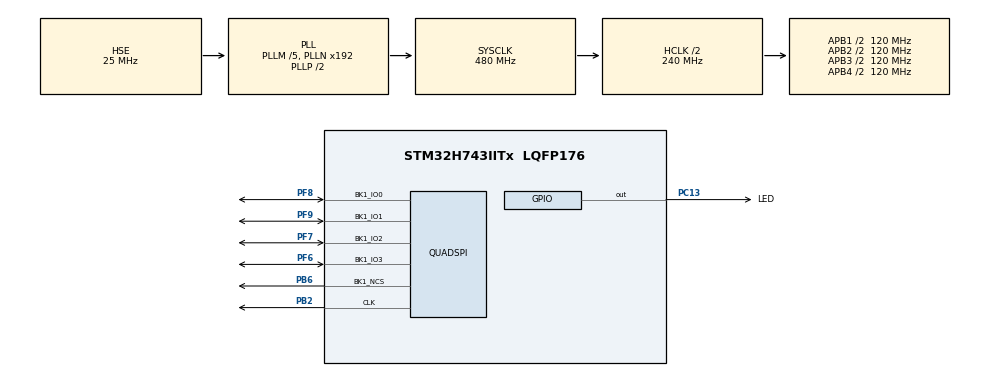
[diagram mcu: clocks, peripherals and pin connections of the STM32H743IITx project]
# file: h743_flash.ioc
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Mcu.Family=STM32H7
Mcu.Name=STM32H743IITx
Mcu.Package=LQFP176
NVIC.PriorityGroup=NVIC_PRIORITYGROUP_4
PB2.Mode=Single Bank 1
PB2.Signal=QUADSPI_CLK
PB6.Mode=Single Bank 1
PB6.Signal=QUADSPI_BK1_NCS
PC13.GPIO_Label=LED
PC13.Signal=GPIO_Output
PF6.Mode=Single Bank 1
PF6.Signal=QUADSPI_BK1_IO3
PF7.Mode=Single Bank 1
PF7.Signal=QUADSPI_BK1_IO2
PF8.Mode=Single Bank 1
PF8.Signal=QUADSPI_BK1_IO0
PF9.Mode=Single Bank 1
PF9.Signal=QUADSPI_BK1_IO1
PH0-OSC_IN\ (PH0).Mode=HSE-External-Oscillator
PH0-OSC_IN\ (PH0).Signal=RCC_OSC_IN
PH1-OSC_OUT\ (PH1).Mode=HSE-External-Oscillator
PH1-OSC_OUT\ (PH1).Signal=RCC_OSC_OUT
ProjectManager.HeapSize=0x200
ProjectManager.StackSize=0x400
ProjectManager.TargetToolchain=STM32CubeIDE
QUADSPI.ChipSelectHighTime=QSPI_CS_HIGH_TIME_2_CYCLE
QUADSPI.ClockPrescaler=1
QUADSPI.FifoThreshold=32
QUADSPI.FlashSize=23
QUADSPI.SampleShifting=QSPI_SAMPLE_SHIFTING_HALFCYCLE
RCC.ADCFreq_Value=200000000
RCC.APB1Freq_Value=120000000
RCC.APB2Freq_Value=120000000
RCC.APB3Freq_Value=120000000
RCC.APB4Freq_Value=120000000
RCC.CortexFreq_Value=480000000
RCC.D1PPRE=RCC_APB3_DIV2
RCC.D2PPRE1=RCC_APB1_DIV2
RCC.D2PPRE2=RCC_APB2_DIV2
RCC.D3PPRE=RCC_APB4_DIV2
RCC.DIVM1=5
RCC.DIVM2=5
RCC.DIVN1=192
RCC.DIVN2=80
RCC.DIVR2=8
RCC.HCLKFreq_Value=240000000
RCC.HPRE=RCC_HCLK_DIV2
RCC.PLLSourceVirtual=RCC_PLLSOURCE_HSE
RCC.QSPICLockSelection=RCC_QSPICLKSOURCE_PLL2
RCC.SYSCLKFreq_VALUE=480000000
RCC.SYSCLKSource=RCC_SYSCLKSOURCE_PLLCLK
RCC.USBFreq_Value=480000000
VP_MEMORYMAP_VS_MEMORYMAP.Mode=CurAppReg
board=custom

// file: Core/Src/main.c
/* USER CODE BEGIN Header */
/**
  ******************************************************************************
  * @file           : main.c
  * @brief          : Main program body
  ******************************************************************************
  * @attention
  *
  * Copyright (c) 2026 STMicroelectronics.
  * All rights reserved.
  *
  * This software is licensed under terms that can be found in the LICENSE file
  * in the root directory of this software component.
  * If no LICENSE file comes with this software, it is provided AS-IS.
  *
  ******************************************************************************
  */
/* USER CODE END Header */
#include "main.h"
#include "quadspi.h"
#include "gpio.h"

/* USER CODE BEGIN PV */
#define WRITE_ENABLE_CMD   0x06U
#define READ_STATUS_REG1_CMD   0x05U
#define READ_STATUS_REG2_CMD   0x35U
#define READ_STATUS_REG3_CMD   0x15U
#define WRITE_STATUS_REG2_CMD 	0x31U
#define QSPI_TIMEOUT_DEFAULT_VALUE 1000U
#define QUAD_OUT_FAST_READ_CMD       0x6BU
#define DUMMY_CLOCK_CYCLES_READ_QUAD 8U
#define QUAD_IN_FAST_PROG_CMD 0x32U
#define MEMORY_PAGE_SIZE 		256U
#define SECTOR_ERASE_CMD        0x20U
#define CHIP_ERASE_CMD          0xC7U
#define MEMORY_SECTOR_SIZE      0x1000U   /* 4KB */
#define QUADSPI_MAX_ERASE_TIMEOUT 300000U
/* USER CODE END PV */

void SystemClock_Config(void);

/* USER CODE BEGIN 0 */
uint32_t QSPI_ReadJedecID(void);
static uint8_t QSPI_ResetChip(void)
{
    QSPI_CommandTypeDef sCommand = {0};

    sCommand.InstructionMode = QSPI_INSTRUCTION_1_LINE;
    sCommand.AddressMode = QSPI_ADDRESS_NONE;
    sCommand.AddressSize = QSPI_ADDRESS_24_BITS;
    sCommand.AlternateByteMode = QSPI_ALTERNATE_BYTES_NONE;
    sCommand.DataMode = QSPI_DATA_NONE;
    sCommand.NbData = 0U;
    sCommand.DummyCycles = 0U;
    sCommand.DdrMode = QSPI_DDR_MODE_DISABLE;
    sCommand.DdrHoldHalfCycle = QSPI_DDR_HHC_ANALOG_DELAY;
    sCommand.SIOOMode = QSPI_SIOO_INST_EVERY_CMD;
    sCommand.Instruction = 0x66; // Reset Enable
    if (HAL_QSPI_Command(&hqspi, &sCommand, 1000) != HAL_OK)
    {
    	return HAL_ERROR;
    }

    sCommand.Instruction = 0x99; // Reset
    if (HAL_QSPI_Command(&hqspi, &sCommand, 1000) != HAL_OK)
    {
    	return HAL_ERROR;
    }

    HAL_Delay(1);

    return HAL_OK;
}

static uint8_t QSPI_WriteEnable(void)
{
    QSPI_CommandTypeDef sCommand = {0};
    QSPI_AutoPollingTypeDef sConfig = {0};

    if (HAL_QSPI_Abort(&hqspi) != HAL_OK)
    {
        return HAL_ERROR;
    }

    /* Send Write Enable command (0x06) */
    sCommand.InstructionMode   = QSPI_INSTRUCTION_1_LINE;
    sCommand.Instruction       = WRITE_ENABLE_CMD;
    sCommand.AddressMode       = QSPI_ADDRESS_NONE;
    sCommand.AddressSize       = QSPI_ADDRESS_24_BITS;
    sCommand.Address           = 0U;
    sCommand.AlternateByteMode = QSPI_ALTERNATE_BYTES_NONE;
    sCommand.DataMode          = QSPI_DATA_NONE;
    sCommand.DummyCycles       = 0U;
    sCommand.DdrMode           = QSPI_DDR_MODE_DISABLE;
    sCommand.DdrHoldHalfCycle  = QSPI_DDR_HHC_ANALOG_DELAY;
    sCommand.SIOOMode          = QSPI_SIOO_INST_EVERY_CMD;

    if (HAL_QSPI_Command(&hqspi, &sCommand, QSPI_TIMEOUT_DEFAULT_VALUE) != HAL_OK)
    {
        return HAL_ERROR;
    }

    /* Wait until WEL bit is set (SR1 bit1) */
    sCommand.Instruction = READ_STATUS_REG1_CMD;  /* 0x05 */
    sCommand.DataMode    = QSPI_DATA_1_LINE;
    sCommand.NbData      = 1U;

    sConfig.Match           = 0x02U;   /* WEL = 1 */
    sConfig.Mask            = 0x02U;
    sConfig.MatchMode       = QSPI_MATCH_MODE_AND;
    sConfig.StatusBytesSize = 1U;
    sConfig.Interval        = 0x10;
    sConfig.AutomaticStop   = QSPI_AUTOMATIC_STOP_ENABLE;

    if (HAL_QSPI_AutoPolling(&hqspi, &sCommand, &sConfig, QSPI_TIMEOUT_DEFAULT_VALUE) != HAL_OK)
    {
        return HAL_ERROR;
    }

    return HAL_OK;
}

static uint8_t QSPI_ReadStatusReg1(uint8_t *value)
{
    QSPI_CommandTypeDef sCommand = {0};

    if (value == NULL)
    {
        return HAL_ERROR;
    }

    if (HAL_QSPI_Abort(&hqspi) != HAL_OK)
    {
        return HAL_ERROR;
    }

    sCommand.InstructionMode   = QSPI_INSTRUCTION_1_LINE;
    sCommand.Instruction       = READ_STATUS_REG1_CMD;   /* 0x05 */
    sCommand.AddressMode       = QSPI_ADDRESS_NONE;
    sCommand.AddressSize       = QSPI_ADDRESS_24_BITS;
    sCommand.Address           = 0U;
    sCommand.AlternateByteMode = QSPI_ALTERNATE_BYTES_NONE;
    sCommand.DataMode          = QSPI_DATA_1_LINE;
    sCommand.NbData            = 1U;
    sCommand.DummyCycles       = 0U;
    sCommand.DdrMode           = QSPI_DDR_MODE_DISABLE;
    sCommand.DdrHoldHalfCycle  = QSPI_DDR_HHC_ANALOG_DELAY;
    sCommand.SIOOMode          = QSPI_SIOO_INST_EVERY_CMD;

    if (HAL_QSPI_Command(&hqspi, &sCommand, QSPI_TIMEOUT_DEFAULT_VALUE) != HAL_OK)
    {
        return HAL_ERROR;
    }

    if (HAL_QSPI_Receive(&hqspi, value, QSPI_TIMEOUT_DEFAULT_VALUE) != HAL_OK)
    {
        return HAL_ERROR;
    }

    return HAL_OK;
}

static uint8_t QSPI_ReadStatusReg2(uint8_t *value)
{
    QSPI_CommandTypeDef sCommand = {0};

    if (value == NULL)
    {
        return HAL_ERROR;
    }

    if (HAL_QSPI_Abort(&hqspi) != HAL_OK)
    {
        return HAL_ERROR;
    }

    sCommand.InstructionMode   = QSPI_INSTRUCTION_1_LINE;
    sCommand.Instruction       = READ_STATUS_REG2_CMD;   /* 0x35 */
    sCommand.AddressMode       = QSPI_ADDRESS_NONE;
    sCommand.AddressSize       = QSPI_ADDRESS_24_BITS;
    sCommand.Address           = 0U;
    sCommand.AlternateByteMode = QSPI_ALTERNATE_BYTES_NONE;
    sCommand.DataMode          = QSPI_DATA_1_LINE;
    sCommand.NbData            = 1U;
    sCommand.DummyCycles       = 0U;
    sCommand.DdrMode           = QSPI_DDR_MODE_DISABLE;
    sCommand.DdrHoldHalfCycle  = QSPI_DDR_HHC_ANALOG_DELAY;
    sCommand.SIOOMode          = QSPI_SIOO_INST_EVERY_CMD;

    if (HAL_QSPI_Command(&hqspi, &sCommand, QSPI_TIMEOUT_DEFAULT_VALUE) != HAL_OK)
    {
        return HAL_ERROR;
    }

    if (HAL_QSPI_Receive(&hqspi, value, QSPI_TIMEOUT_DEFAULT_VALUE) != HAL_OK)
    {
        return HAL_ERROR;
    }

    return HAL_OK;
}

static uint8_t QSPI_ReadStatusReg3(uint8_t *value)
{
    QSPI_CommandTypeDef sCommand = {0};

    if (value == NULL)
    {
        return HAL_ERROR;
    }

    if (HAL_QSPI_Abort(&hqspi) != HAL_OK)
    {
        return HAL_ERROR;
    }

    sCommand.InstructionMode   = QSPI_INSTRUCTION_1_LINE;
    sCommand.Instruction       = READ_STATUS_REG3_CMD;   /* 0x15 */
    sCommand.AddressMode       = QSPI_ADDRESS_NONE;
    sCommand.AddressSize       = QSPI_ADDRESS_24_BITS;
    sCommand.Address           = 0U;
    sCommand.AlternateByteMode = QSPI_ALTERNATE_BYTES_NONE;
    sCommand.DataMode          = QSPI_DATA_1_LINE;
    sCommand.NbData            = 1U;
    sCommand.DummyCycles       = 0U;
    sCommand.DdrMode           = QSPI_DDR_MODE_DISABLE;
    sCommand.DdrHoldHalfCycle  = QSPI_DDR_HHC_ANALOG_DELAY;
    sCommand.SIOOMode          = QSPI_SIOO_INST_EVERY_CMD;

    if (HAL_QSPI_Command(&hqspi, &sCommand, QSPI_TIMEOUT_DEFAULT_VALUE) != HAL_OK)
    {
        return HAL_ERROR;
    }

    if (HAL_QSPI_Receive(&hqspi, value, QSPI_TIMEOUT_DEFAULT_VALUE) != HAL_OK)
    {
        return HAL_ERROR;
    }

    return HAL_OK;
}

static uint8_t QSPI_AutoPollingMemReady(uint32_t Timeout)
{
    QSPI_CommandTypeDef sCommand = {0};
    QSPI_AutoPollingTypeDef sConfig = {0};

    if (HAL_QSPI_Abort(&hqspi) != HAL_OK)
    {
        return HAL_ERROR;
    }

    /* Read Status Register-1 (0x05) */
    sCommand.InstructionMode   = QSPI_INSTRUCTION_1_LINE;
    sCommand.Instruction       = READ_STATUS_REG1_CMD; /* 0x05 */
    sCommand.AddressMode       = QSPI_ADDRESS_NONE;
    sCommand.AddressSize       = QSPI_ADDRESS_24_BITS;
    sCommand.Address           = 0U;
    sCommand.AlternateByteMode = QSPI_ALTERNATE_BYTES_NONE;
    sCommand.DataMode          = QSPI_DATA_1_LINE;
    sCommand.NbData            = 1U;
    sCommand.DummyCycles       = 0U;
    sCommand.DdrMode           = QSPI_DDR_MODE_DISABLE;
    sCommand.DdrHoldHalfCycle  = QSPI_DDR_HHC_ANALOG_DELAY;
    sCommand.SIOOMode          = QSPI_SIOO_INST_EVERY_CMD;

    /* Wait until BUSY = 0 */
    sConfig.Match           = 0x00U;
    sConfig.Mask            = 0x01U;  /* BUSY bit */
    sConfig.MatchMode       = QSPI_MATCH_MODE_AND;
    sConfig.StatusBytesSize = 1U;
    sConfig.Interval        = 0x10;
    sConfig.AutomaticStop   = QSPI_AUTOMATIC_STOP_ENABLE;

    if (HAL_QSPI_AutoPolling(&hqspi, &sCommand, &sConfig, Timeout) != HAL_OK)
    {
        return HAL_ERROR;
    }

    return HAL_OK;
}

uint8_t QSPI_WaitBusy(uint32_t Timeout)
{
    uint8_t sr1 = 0;
    uint32_t tickstart = HAL_GetTick();

    do
    {
        if (QSPI_ReadStatusReg1(&sr1) != HAL_OK)
        {
            return HAL_ERROR;
        }

        if ((sr1 & 0x01U) == 0U)   /* BUSY = 0 */
        {
            return HAL_OK;
        }

    } while ((HAL_GetTick() - tickstart) < Timeout);

    return HAL_TIMEOUT;
}

static uint8_t QSPI_WriteStatusReg2(uint8_t value)
{
    QSPI_CommandTypeDef sCommand = {0};

    if (QSPI_WriteEnable() != HAL_OK)
    {
        return HAL_ERROR;
    }

    if (HAL_QSPI_Abort(&hqspi) != HAL_OK)
    {
        return HAL_ERROR;
    }

    sCommand.InstructionMode   = QSPI_INSTRUCTION_1_LINE;
    sCommand.Instruction       = WRITE_STATUS_REG2_CMD;   /* 0x31 */
    sCommand.AddressMode       = QSPI_ADDRESS_NONE;
    sCommand.AddressSize       = QSPI_ADDRESS_24_BITS;
    sCommand.Address           = 0U;
    sCommand.AlternateByteMode = QSPI_ALTERNATE_BYTES_NONE;
    sCommand.DataMode          = QSPI_DATA_1_LINE;
    sCommand.NbData            = 1U;
    sCommand.DummyCycles       = 0U;
    sCommand.DdrMode           = QSPI_DDR_MODE_DISABLE;
    sCommand.DdrHoldHalfCycle  = QSPI_DDR_HHC_ANALOG_DELAY;
    sCommand.SIOOMode          = QSPI_SIOO_INST_EVERY_CMD;

    if (HAL_QSPI_Command(&hqspi, &sCommand, QSPI_TIMEOUT_DEFAULT_VALUE) != HAL_OK)
    {
        return HAL_ERROR;
    }

    if (HAL_QSPI_Transmit(&hqspi, &value, QSPI_TIMEOUT_DEFAULT_VALUE) != HAL_OK)
    {
        return HAL_ERROR;
    }

    if (QSPI_AutoPollingMemReady(QSPI_TIMEOUT_DEFAULT_VALUE) != HAL_OK)
    {
        return HAL_ERROR;
    }

    return HAL_OK;
}

static uint8_t QSPI_EnableQuadMode(void)
{
    uint8_t sr2 = 0U;

    if (QSPI_ReadStatusReg2(&sr2) != HAL_OK)
    {
        return HAL_ERROR;
    }

    if ((sr2 & 0x02U) == 0U)
    {
        sr2 |= 0x02U;

        if (QSPI_WriteStatusReg2(sr2) != HAL_OK)
        {
            return HAL_ERROR;
        }

        if (QSPI_ReadStatusReg2(&sr2) != HAL_OK)
        {
            return HAL_ERROR;
        }

        if ((sr2 & 0x02U) == 0U)
        {
            return HAL_ERROR;
        }
    }

    return HAL_OK;
}

uint8_t CSP_QSPI_ReadMemory(uint8_t *buffer, uint32_t address, uint32_t size)
{
    QSPI_CommandTypeDef sCommand = {0};

    if ((buffer == NULL) || (size == 0U))
    {
        return HAL_ERROR;
    }

    if (HAL_QSPI_Abort(&hqspi) != HAL_OK)
    {
        return HAL_ERROR;
    }

    sCommand.InstructionMode   = QSPI_INSTRUCTION_1_LINE;
    sCommand.Instruction       = QUAD_OUT_FAST_READ_CMD;   /* 0x6B */
    sCommand.AddressMode       = QSPI_ADDRESS_1_LINE;
    sCommand.AddressSize       = QSPI_ADDRESS_24_BITS;
    sCommand.Address           = address;
    sCommand.AlternateByteMode = QSPI_ALTERNATE_BYTES_NONE;
    sCommand.DataMode          = QSPI_DATA_4_LINES;
    sCommand.NbData            = size;
    sCommand.DummyCycles       = DUMMY_CLOCK_CYCLES_READ_QUAD; /* 8 */
    sCommand.DdrMode           = QSPI_DDR_MODE_DISABLE;
    sCommand.DdrHoldHalfCycle  = QSPI_DDR_HHC_ANALOG_DELAY;
    sCommand.SIOOMode          = QSPI_SIOO_INST_EVERY_CMD;

    if (HAL_QSPI_Command(&hqspi, &sCommand, QSPI_TIMEOUT_DEFAULT_VALUE) != HAL_OK)
    {
        return HAL_ERROR;
    }

    if (HAL_QSPI_Receive(&hqspi, buffer, QSPI_TIMEOUT_DEFAULT_VALUE) != HAL_OK)
    {
        return HAL_ERROR;
    }

    return HAL_OK;
}

uint8_t CSP_QSPI_WriteMemory(uint8_t *buffer, uint32_t address, uint32_t buffer_size)
{
    QSPI_CommandTypeDef sCommand = {0};
    uint32_t current_addr;
    uint32_t current_size;
    uint32_t end_addr;

    if ((buffer == NULL) || (buffer_size == 0U))
    {
        return HAL_ERROR;
    }

    current_addr = address;
    current_size = MEMORY_PAGE_SIZE - (address % MEMORY_PAGE_SIZE);
    if (current_size > buffer_size)
    {
        current_size = buffer_size;
    }

    end_addr = address + buffer_size;

    sCommand.InstructionMode   = QSPI_INSTRUCTION_1_LINE;
    sCommand.Instruction       = QUAD_IN_FAST_PROG_CMD;   /* 0x32 */
    sCommand.AddressMode       = QSPI_ADDRESS_1_LINE;
    sCommand.AddressSize       = QSPI_ADDRESS_24_BITS;
    sCommand.AlternateByteMode = QSPI_ALTERNATE_BYTES_NONE;
    sCommand.DataMode          = QSPI_DATA_4_LINES;
    sCommand.DummyCycles       = 0U;
    sCommand.DdrMode           = QSPI_DDR_MODE_DISABLE;
    sCommand.DdrHoldHalfCycle  = QSPI_DDR_HHC_ANALOG_DELAY;
    sCommand.SIOOMode          = QSPI_SIOO_INST_ONLY_FIRST_CMD;

    do
    {
        sCommand.Address = current_addr;
        sCommand.NbData  = current_size;

        if (QSPI_WriteEnable() != HAL_OK)
        {
            return HAL_ERROR;
        }

        if (HAL_QSPI_Abort(&hqspi) != HAL_OK)
        {
            return HAL_ERROR;
        }

        if (HAL_QSPI_Command(&hqspi, &sCommand, QSPI_TIMEOUT_DEFAULT_VALUE) != HAL_OK)
        {
            return HAL_ERROR;
        }

        if (HAL_QSPI_Transmit(&hqspi, buffer, QSPI_TIMEOUT_DEFAULT_VALUE) != HAL_OK)
        {
            return HAL_ERROR;
        }

        if (QSPI_WaitBusy(QSPI_TIMEOUT_DEFAULT_VALUE) != HAL_OK)
        {
            return HAL_ERROR;
        }

        current_addr += current_size;
        buffer       += current_size;

        if (current_addr >= end_addr)
        {
            break;
        }

        current_size = ((current_addr + MEMORY_PAGE_SIZE) > end_addr)
                     ? (end_addr - current_addr)
                     : MEMORY_PAGE_SIZE;

    } while (current_addr < end_addr);

    return HAL_OK;
}

uint8_t CSP_QSPI_EraseSector(uint32_t EraseStartAddress, uint32_t EraseEndAddress)
{
    QSPI_CommandTypeDef sCommand = {0};

    EraseStartAddress = EraseStartAddress - (EraseStartAddress % MEMORY_SECTOR_SIZE);

    sCommand.InstructionMode   = QSPI_INSTRUCTION_1_LINE;
    sCommand.Instruction       = SECTOR_ERASE_CMD;      /* 0x20 */
    sCommand.AddressMode       = QSPI_ADDRESS_1_LINE;
    sCommand.AddressSize       = QSPI_ADDRESS_24_BITS;
    sCommand.AlternateByteMode = QSPI_ALTERNATE_BYTES_NONE;
    sCommand.DataMode          = QSPI_DATA_NONE;
    sCommand.NbData            = 0U;
    sCommand.DummyCycles       = 0U;
    sCommand.DdrMode           = QSPI_DDR_MODE_DISABLE;
    sCommand.DdrHoldHalfCycle  = QSPI_DDR_HHC_ANALOG_DELAY;
    sCommand.SIOOMode          = QSPI_SIOO_INST_EVERY_CMD;

    while (EraseStartAddress <= EraseEndAddress)
    {
        sCommand.Address = EraseStartAddress;

        if (QSPI_WriteEnable() != HAL_OK)
        {
            return HAL_ERROR;
        }

        if (HAL_QSPI_Command(&hqspi, &sCommand, QSPI_TIMEOUT_DEFAULT_VALUE) != HAL_OK)
        {
            return HAL_ERROR;
        }

        if (QSPI_WaitBusy(QSPI_TIMEOUT_DEFAULT_VALUE) != HAL_OK)
        {
            return HAL_ERROR;
        }

        EraseStartAddress += MEMORY_SECTOR_SIZE;
    }

    return HAL_OK;
}

uint8_t CSP_QSPI_Erase_Chip(void)
{
    QSPI_CommandTypeDef sCommand = {0};

    sCommand.InstructionMode   = QSPI_INSTRUCTION_1_LINE;
    sCommand.Instruction       = CHIP_ERASE_CMD;        /* 0xC7 */
    sCommand.AddressMode       = QSPI_ADDRESS_NONE;
    sCommand.AddressSize       = QSPI_ADDRESS_24_BITS;
    sCommand.Address           = 0U;
    sCommand.AlternateByteMode = QSPI_ALTERNATE_BYTES_NONE;
    sCommand.DataMode          = QSPI_DATA_NONE;
    sCommand.NbData            = 0U;
    sCommand.DummyCycles       = 0U;
    sCommand.DdrMode           = QSPI_DDR_MODE_DISABLE;
    sCommand.DdrHoldHalfCycle  = QSPI_DDR_HHC_ANALOG_DELAY;
    sCommand.SIOOMode          = QSPI_SIOO_INST_EVERY_CMD;

    if (QSPI_WriteEnable() != HAL_OK)
    {
        return HAL_ERROR;
    }

    if (HAL_QSPI_Command(&hqspi, &sCommand, QSPI_TIMEOUT_DEFAULT_VALUE) != HAL_OK)
    {
        return HAL_ERROR;
    }

    if (QSPI_WaitBusy(QUADSPI_MAX_ERASE_TIMEOUT) != HAL_OK)
    {
        return HAL_ERROR;
    }

    return HAL_OK;
}

uint8_t CSP_QSPI_EnableMemoryMappedMode(void)
{
    QSPI_CommandTypeDef sCommand = {0};
    QSPI_MemoryMappedTypeDef sMemMappedCfg = {0};

    if (HAL_QSPI_Abort(&hqspi) != HAL_OK)
    {
        return HAL_ERROR;
    }

    sCommand.InstructionMode   = QSPI_INSTRUCTION_1_LINE;
    sCommand.Instruction       = QUAD_OUT_FAST_READ_CMD;   /* 0x6B */
    sCommand.AddressMode       = QSPI_ADDRESS_1_LINE;
    sCommand.AddressSize       = QSPI_ADDRESS_24_BITS;
    sCommand.Address           = 0U;
    sCommand.AlternateByteMode = QSPI_ALTERNATE_BYTES_NONE;
    sCommand.DataMode          = QSPI_DATA_4_LINES;
    sCommand.NbData            = 0U;
    sCommand.DummyCycles       = DUMMY_CLOCK_CYCLES_READ_QUAD; /* 8 */
    sCommand.DdrMode           = QSPI_DDR_MODE_DISABLE;
    sCommand.DdrHoldHalfCycle  = QSPI_DDR_HHC_ANALOG_DELAY;
    sCommand.SIOOMode          = QSPI_SIOO_INST_EVERY_CMD;

    sMemMappedCfg.TimeOutActivation = QSPI_TIMEOUT_COUNTER_DISABLE;
    sMemMappedCfg.TimeOutPeriod     = 0U;

    if (HAL_QSPI_MemoryMapped(&hqspi, &sCommand, &sMemMappedCfg) != HAL_OK)
    {
        return HAL_ERROR;
    }

    return HAL_OK;
}
/* USER CODE END 0 */

int main(void)
{

  /* MCU Configuration--------------------------------------------------------*/

  /* Reset of all peripherals, Initializes the Flash interface and the Systick. */
  HAL_Init();

  /* Configure the system clock */
  SystemClock_Config();

  /* Initialize all configured peripherals */
  MX_GPIO_Init();
  MX_QUADSPI_Init();
  /* USER CODE BEGIN 2 */
  HAL_QSPI_Abort(&hqspi);
  uint8_t status = QSPI_ResetChip();
  HAL_Delay(100);
  uint32_t jedec_id = QSPI_ReadJedecID();

  if (QSPI_EnableQuadMode() != HAL_OK)
  {
      return HAL_ERROR;
  }

  uint8_t sr1 = 0, sr2 = 0, sr3 = 0;

  if (QSPI_ReadStatusReg1(&sr1) != HAL_OK)
  {
      return HAL_ERROR;
  }

  if (QSPI_ReadStatusReg2(&sr2) != HAL_OK)
  {
      return HAL_ERROR;
  }

  if (QSPI_ReadStatusReg3(&sr3) != HAL_OK)
  {
      return HAL_ERROR;
  }

  uint8_t tx[16] = {
      0x11, 0x22, 0x33, 0x44,
      0x55, 0x66, 0x77, 0x88,
      0x99, 0xAA, 0xBB, 0xCC,
      0xDD, 0xEE, 0x12, 0x34
  };

  uint8_t rx[16] = {0};

  if (CSP_QSPI_WriteMemory(tx, 0x00000000, sizeof(tx)) != HAL_OK)
  {
      return HAL_ERROR;
  }

  if (CSP_QSPI_ReadMemory(rx, 0x00000000, sizeof(rx)) != HAL_OK)
  {
      return HAL_ERROR;
  }

  /*
  if (CSP_QSPI_EraseSector(0x00000000, 0x00000000) != HAL_OK)
  {
      return HAL_ERROR;
  }

  uint8_t rx2[16] = {0};

  if (CSP_QSPI_ReadMemory(rx2, 0x00000000, sizeof(rx)) != HAL_OK)
  {
      return HAL_ERROR;
  }
  */

  if (CSP_QSPI_EnableMemoryMappedMode() != HAL_OK)
  {
      return HAL_ERROR;
  }

  volatile uint8_t *qspi_mem = (volatile uint8_t *)0x90000000;
  uint8_t a0 = qspi_mem[0];
  uint8_t a1 = qspi_mem[1];
  uint8_t a2 = qspi_mem[2];
  uint8_t a3 = qspi_mem[3];
  /* USER CODE END 2 */

  /* Infinite loop */
  /* USER CODE BEGIN WHILE */
  while (1)
  {
	  HAL_Delay(100);
    /* USER CODE END WHILE */

  }
}

void SystemClock_Config(void)
{
  RCC_OscInitTypeDef RCC_OscInitStruct = {0};
  RCC_ClkInitTypeDef RCC_ClkInitStruct = {0};

  /** Supply configuration update enable
  */
  HAL_PWREx_ConfigSupply(PWR_LDO_SUPPLY);

  /** Configure the main internal regulator output voltage
  */
  __HAL_PWR_VOLTAGESCALING_CONFIG(PWR_REGULATOR_VOLTAGE_SCALE0);

  while(!__HAL_PWR_GET_FLAG(PWR_FLAG_VOSRDY)) {}

  /** Initializes the RCC Oscillators according to the specified parameters
  * in the RCC_OscInitTypeDef structure.
  */
  RCC_OscInitStruct.OscillatorType = RCC_OSCILLATORTYPE_HSE;
  RCC_OscInitStruct.HSEState = RCC_HSE_ON;
  RCC_OscInitStruct.PLL.PLLState = RCC_PLL_ON;
  RCC_OscInitStruct.PLL.PLLSource = RCC_PLLSOURCE_HSE;
  RCC_OscInitStruct.PLL.PLLM = 5;
  RCC_OscInitStruct.PLL.PLLN = 192;
  RCC_OscInitStruct.PLL.PLLP = 2;
  RCC_OscInitStruct.PLL.PLLQ = 2;
  RCC_OscInitStruct.PLL.PLLR = 2;
  RCC_OscInitStruct.PLL.PLLRGE = RCC_PLL1VCIRANGE_2;
  RCC_OscInitStruct.PLL.PLLVCOSEL = RCC_PLL1VCOWIDE;
  RCC_OscInitStruct.PLL.PLLFRACN = 0;
  if (HAL_RCC_OscConfig(&RCC_OscInitStruct) != HAL_OK)
  {
    Error_Handler();
  }

  /** Initializes the CPU, AHB and APB buses clocks
  */
  RCC_ClkInitStruct.ClockType = RCC_CLOCKTYPE_HCLK|RCC_CLOCKTYPE_SYSCLK
                              |RCC_CLOCKTYPE_PCLK1|RCC_CLOCKTYPE_PCLK2
                              |RCC_CLOCKTYPE_D3PCLK1|RCC_CLOCKTYPE_D1PCLK1;
  RCC_ClkInitStruct.SYSCLKSource = RCC_SYSCLKSOURCE_PLLCLK;
  RCC_ClkInitStruct.SYSCLKDivider = RCC_SYSCLK_DIV1;
  RCC_ClkInitStruct.AHBCLKDivider = RCC_HCLK_DIV2;
  RCC_ClkInitStruct.APB3CLKDivider = RCC_APB3_DIV2;
  RCC_ClkInitStruct.APB1CLKDivider = RCC_APB1_DIV2;
  RCC_ClkInitStruct.APB2CLKDivider = RCC_APB2_DIV2;
  RCC_ClkInitStruct.APB4CLKDivider = RCC_APB4_DIV2;

  if (HAL_RCC_ClockConfig(&RCC_ClkInitStruct, FLASH_LATENCY_4) != HAL_OK)
  {
    Error_Handler();
  }
}

/* USER CODE BEGIN 4 */
uint32_t QSPI_ReadJedecID(void)
{
	QSPI_CommandTypeDef sCommand = {0};
	uint8_t id[3] = {0};

	HAL_QSPI_Abort(&hqspi);

	sCommand.InstructionMode   = QSPI_INSTRUCTION_1_LINE;
	sCommand.Instruction       = 0x9F; /* JEDEC ID */
	sCommand.AddressMode       = QSPI_ADDRESS_NONE;
	sCommand.AddressSize       = QSPI_ADDRESS_24_BITS;
	sCommand.Address 		   = 0U;
	sCommand.AlternateByteMode = QSPI_ALTERNATE_BYTES_NONE;
	sCommand.DataMode          = QSPI_DATA_1_LINE;
	sCommand.NbData            = 3U;
	sCommand.DummyCycles       = 0U;
	sCommand.DdrMode           = QSPI_DDR_MODE_DISABLE;
	sCommand.DdrHoldHalfCycle  = QSPI_DDR_HHC_ANALOG_DELAY;
	sCommand.SIOOMode          = QSPI_SIOO_INST_EVERY_CMD;

	HAL_StatusTypeDef status;
	status = HAL_QSPI_Command(&hqspi, &sCommand, 1000);
	if (status != HAL_OK)
	{
		return 0;
	}

	status = HAL_QSPI_Receive(&hqspi, id, 1000);
	if (status != HAL_OK)
	{
		return 0;
	}

	return ((uint32_t)id[0] << 16) |
	           ((uint32_t)id[1] << 8)  |
	           ((uint32_t)id[2]);
}
/* USER CODE END 4 */

void Error_Handler(void)
{
  __disable_irq();
  while (1)
  {
  }
}
